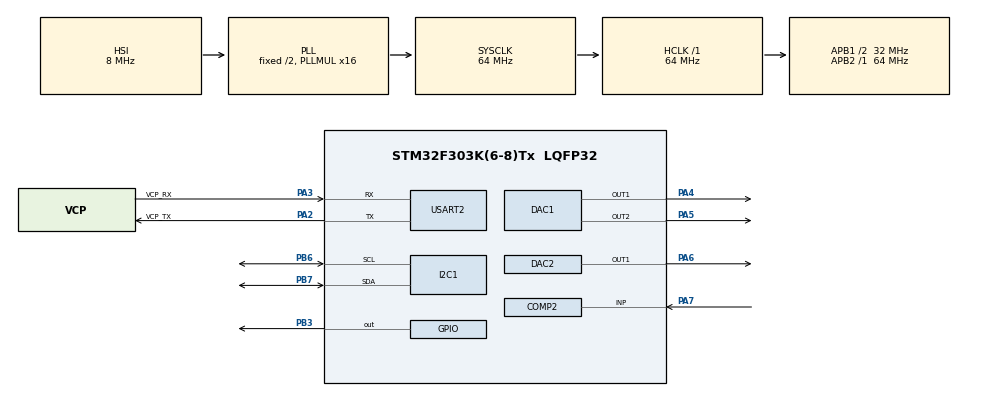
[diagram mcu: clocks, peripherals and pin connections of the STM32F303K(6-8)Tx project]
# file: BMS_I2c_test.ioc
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COMP2.InvertingInput=COMP_INVERTINGINPUT_DAC1_CH1
Dma.Request0=USART2_TX
Dma.USART2_TX.0.Direction=DMA_MEMORY_TO_PERIPH
Dma.USART2_TX.0.Instance=DMA1_Channel7
Dma.USART2_TX.0.MemDataAlignment=DMA_MDATAALIGN_BYTE
Dma.USART2_TX.0.MemInc=DMA_MINC_ENABLE
Dma.USART2_TX.0.Mode=DMA_NORMAL
Dma.USART2_TX.0.PeriphDataAlignment=DMA_PDATAALIGN_BYTE
Dma.USART2_TX.0.PeriphInc=DMA_PINC_DISABLE
Dma.USART2_TX.0.Priority=DMA_PRIORITY_LOW
Mcu.Family=STM32F3
Mcu.Name=STM32F303K(6-8)Tx
Mcu.Package=LQFP32
NVIC.DMA1_Channel7_IRQn=true\:0\:0\:false\:false\:true\:false\:true\:true
NVIC.PriorityGroup=NVIC_PRIORITYGROUP_4
NVIC.TIM1_TRG_COM_TIM17_IRQn=true\:0\:0\:false\:false\:true\:true\:true\:true
PA13.GPIO_Label=SWDIO
PA13.Mode=Serial_Wire
PA13.Signal=SYS_JTMS-SWDIO
PA14.GPIO_Label=SWCLK
PA14.Mode=Serial_Wire
PA14.Signal=SYS_JTCK-SWCLK
PA2.GPIO_Label=VCP_TX
PA2.Mode=Asynchronous
PA2.Signal=USART2_TX
PA3.GPIO_Label=VCP_RX
PA3.Mode=Asynchronous
PA3.Signal=USART2_RX
PA4.Signal=COMP_DAC11_group
PA5.Signal=COMP_DAC12_group
PA6.Signal=COMP_DAC21_group
PA7.Mode=INP
PA7.Signal=COMP2_INP
PB3.Signal=GPIO_Output
PB6.GPIO_Pu=GPIO_NOPULL
PB6.Mode=I2C
PB6.Signal=I2C1_SCL
PB7.GPIO_Pu=GPIO_NOPULL
PB7.Mode=I2C
PB7.Signal=I2C1_SDA
ProjectManager.HeapSize=0x200
ProjectManager.StackSize=0x400
ProjectManager.TargetToolchain=STM32CubeIDE
RCC.AHBFreq_Value=64000000
RCC.APB1CLKDivider=RCC_HCLK_DIV2
RCC.APB1Freq_Value=32000000
RCC.APB1TimFreq_Value=64000000
RCC.APB2Freq_Value=64000000
RCC.APB2TimFreq_Value=64000000
RCC.CortexFreq_Value=64000000
RCC.HCLKFreq_Value=64000000
RCC.HSE_VALUE=8000000
RCC.HSI_VALUE=8000000
RCC.PLLMUL=RCC_PLL_MUL16
RCC.SYSCLKFreq_VALUE=64000000
RCC.SYSCLKSourceVirtual=RCC_SYSCLKSOURCE_PLLCLK
SH.COMP_DAC11_group.0=DAC1_OUT1,DAC_OUT1
SH.COMP_DAC12_group.0=DAC1_OUT2,DAC_OUT2
SH.COMP_DAC21_group.0=DAC2_OUT1,Switch_Enable_OUT1
TIM17.AutoReloadPreload=TIM_AUTORELOAD_PRELOAD_DISABLE
TIM17.Period=40000
TIM17.Prescaler=99
USART2.VirtualMode-Asynchronous=VM_ASYNC
VP_COMP2_VS_DAC1OUT1.Mode=INM_DAC1OUT1
VP_TIM17_VS_ClockSourceINT.Mode=Enable_Timer
board=NUCLEO-F303K8

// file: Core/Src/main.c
/* USER CODE BEGIN Header */
/**
  ******************************************************************************
  * @file           : main.c
  * @brief          : Main program body
  ******************************************************************************
  * @attention
  *
  * Copyright (c) 2023 STMicroelectronics.
  * All rights reserved.
  *
  * This software is licensed under terms that can be found in the LICENSE file
  * in the root directory of this software component.
  * If no LICENSE file comes with this software, it is provided AS-IS.
  *
  ******************************************************************************
  */
/* USER CODE END Header */
#include "main.h"

/* USER CODE BEGIN Includes */
#include "ADS1115.h"
#include "stdbool.h"
#include "stdio.h"

/* USER CODE END Includes */

/* USER CODE BEGIN PD */

 #define LED_ON     HAL_GPIO_WritePin(GPIOB, GPIO_PIN_3,GPIO_PIN_SET);
#define LED_OFF    HAL_GPIO_WritePin(GPIOB, GPIO_PIN_3,GPIO_PIN_RESET);

/* USER CODE END PD */

COMP_HandleTypeDef hcomp2;

DAC_HandleTypeDef hdac1;
DAC_HandleTypeDef hdac2;

I2C_HandleTypeDef hi2c1;

TIM_HandleTypeDef htim17;

UART_HandleTypeDef huart2;
DMA_HandleTypeDef hdma_usart2_tx;

void SystemClock_Config(void);
static void MX_GPIO_Init(void);
static void MX_DMA_Init(void);
static void MX_USART2_UART_Init(void);
static void MX_I2C1_Init(void);
static void MX_TIM17_Init(void);
static void MX_COMP2_Init(void);
static void MX_DAC1_Init(void);
static void MX_DAC2_Init(void);

/* USER CODE BEGIN 0 */

#define ADS1115_ADR 0x48
uint8_t ADSWrite[6];
int16_t readValue;
float voltValue;
float voltProbes[256];
static uint16_t probeNum;
//const float voltageConv = 6.114 / 32768.0f;

uint8_t I2C_REGISTERS[10] = {0x01,0x7F,0,0,0,0,0,0,0,0};
uint8_t transmit[48]={2,0,0,0,0,1,0,1,1,0,0,0,1,1,0,0,0,0,0,0,0,0,0,0,0,0,0,0,0,3,1,3};
uint8_t transmit_lenght=30;
uint8_t tr_bit=0;
bool bit=0;

uint8_t Read_Reg[2]={0, };

uint16_t result=0;
ADS1115_Config_t configReg;
ADS1115_Handle_t *pADS;

char str[58]={0, };
float v_1=0;
float v_2=0;
float v_3=0;
float current=0;

#define ADS1115_ADDRESS 0x48
unsigned char ADSwrite[6];
int16_t reading;
float voltage[4];
const float voltageConv = 6.114 / 32768.0;

static uint8_t isCountinousModeRunning = 0;
// EXTI Line9 External Interrupt ISR Handler CallBackFun
void HAL_GPIO_EXTI_Callback(uint16_t GPIO_Pin)
{
	if (GPIO_Pin == GPIO_PIN_10) // If The INT Source Is EXTI Line9 (A9 Pin)
	{
		int16_t readValue = ADS1115_getData(pADS);
		voltValue = readValue * voltageConv;
		probeNum++;
	}

	if (GPIO_Pin == GPIO_PIN_13){
		if(isCountinousModeRunning){
			isCountinousModeRunning = 0;
			ADS1115_stopContinousMode(pADS);
		}else{
			isCountinousModeRunning = 1;
			ADS1115_startContinousMode(pADS);
		}

	}
}

void Print_test(void){

//	sprintf(str, "\n\r Cnt-%02d,per-%04d,pul-%04d,adr-%04d,dir-%04d\n\r",count,period,pulse,rcv_addres,directive);
	// LED_ON;
	 HAL_UART_Transmit_DMA(&huart2, str, sizeof(str));

}
void HAL_TIM_PeriodElapsedCallback(TIM_HandleTypeDef *htim)
{
        if(htim->Instance == TIM17) //check if the interrupt comes from TIM1
        {
           if(bit==false){

             LED_OFF;
        	if((transmit[tr_bit])==3){TIM17->ARR=9000;}
        	if((transmit[tr_bit])==2){TIM17->ARR=2280;}
        	if((transmit[tr_bit])==1){TIM17->ARR=760;}
        	if((transmit[tr_bit])==0){TIM17->ARR=1520;}
               // TIM17->CCR1=0;
           }

           if(bit==true){
          LED_ON;
            if((transmit[tr_bit])==3){TIM17->ARR=9000;LED_OFF;}
           if((transmit[tr_bit])==2){TIM17->ARR=2280;}
            if((transmit[tr_bit])==1){TIM17->ARR=1520;}
            if((transmit[tr_bit])==0){TIM17->ARR  =760;}
           // TIM17->CCR1=0;
            tr_bit++;
            if(tr_bit==(transmit_lenght)){tr_bit=0;}

                      }
          bit=!bit;
                //HAL_GPIO_TogglePin(GPIOB, GPIO_PIN_3);
        }
}
/* USER CODE END 0 */

int main(void)
{

  /* MCU Configuration--------------------------------------------------------*/

  /* Reset of all peripherals, Initializes the Flash interface and the Systick. */
  HAL_Init();

  /* Configure the system clock */
  SystemClock_Config();

  /* Initialize all configured peripherals */
  MX_GPIO_Init();
  MX_DMA_Init();
  MX_USART2_UART_Init();
  MX_I2C1_Init();
  MX_TIM17_Init();
  MX_COMP2_Init();
  MX_DAC1_Init();
  MX_DAC2_Init();
  /* USER CODE BEGIN 2 */
/*
  configReg.channel = CHANNEL_AIN0_GND;
    configReg.pgaConfig = PGA_6_144;
    configReg.operatingMode = MODE_SINGLE_SHOT;
    configReg.dataRate = DRATE_475;
    configReg.compareMode = COMP_HYSTERESIS;
    configReg.polarityMode = POLARITY_ACTIVE_LOW;
    configReg.latchingMode = LATCHING_NONE;
    configReg.queueComparator = QUEUE_ONE;
    pADS = ADS1115_init(&hi2c1, ADS1115_ADR, configReg);
    ADS1115_updateConfig(pADS, configReg);
    ADS1115_setConversionReadyPin(pADS);

*/
  LED_ON;

  HAL_TIM_Base_Start_IT(&htim17);
  /* USER CODE END 2 */

  /* Infinite loop */
  /* USER CODE BEGIN WHILE */
  while (1)
  {

	  for(int i=0; i< 4; i++){
	  			ADSwrite[0] = 0x01;
	  			ADSwrite[1] = 0x00;
	  			switch(i){
	  				case(0):
	  					ADSwrite[1] = 0xC1; //11000001
	  				break;
	  				case(1):
	  					ADSwrite[1] = 0xD1; //11010001
	  				break;
	  				case(2):
	  					ADSwrite[1] = 0xE1;
	  				break;
	  				case(3):
	  					ADSwrite[1] = 0xF1;
	  				break;
	  			}
	  		//	LED_ON;
	  			ADSwrite[2] = 0x83; //10000011 LSB

	  			HAL_I2C_Master_Transmit(&hi2c1, ADS1115_ADDRESS << 1, ADSwrite, 3, 100);
	  			ADSwrite[0] = 0x00;
	  			HAL_I2C_Master_Transmit(&hi2c1, ADS1115_ADDRESS << 1 , ADSwrite, 1 ,100);
	  			HAL_Delay(20);

	  			HAL_I2C_Master_Receive(&hi2c1, ADS1115_ADDRESS <<1, ADSwrite, 2, 100);
	  			reading = (ADSwrite[0] << 8 | ADSwrite[1] );
	  			if(reading < 0) {
	  				reading = 0;
	  			}
	  			ADSwrite[0] = 0x00;
	  			ADSwrite[1] = 0x00;
	  			voltage[i] = reading * voltageConv;

	  		}
	  sprintf(str, "\n\r Inp_1-%.3f,Inp_2-%.3f,Inp_3-%.3f,Inp_4-%.3f \n\r",voltage[0],voltage[1],voltage[2],voltage[3]);

	  	 //HAL_UART_Transmit_DMA(&huart2, str,54);
	  	 HAL_UART_Transmit(&huart2, str, 53, 100);

	  	v_1=(voltage[2])*2.042;
	  	v_2=(voltage[1]*3.2)-v_1;
	  	v_3=(voltage[0]*5.38)-v_1-v_2;
	  	if(voltage[3]>2.444){current=(voltage[3]-2.444)/0.185;}
	  	if(voltage[3]<2.444){current=(2.444-voltage[3])/0.185;}

	  	  sprintf(str, "\n\r Bat_1-%.3f,Bat_2-%.3f,Bat_3-%.3f,Curr-%.3f \n\r",v_1,v_2,v_3,current);
	  	HAL_UART_Transmit(&huart2, str, 53, 100);

	  //	LED_OFF;
	  	voltage[0]=0;
	  	voltage[1]=0;
	  	voltage[2]=0;
	  	voltage[3]=0;
	  	HAL_Delay(500);

	 // probeNum = 0;
	//	  ADS1115_startContinousMode(pADS);
	//	  HAL_Delay(1000);
	//	  ADS1115_stopContinousMode(pADS);
		 // HAL_Delay(100);

    /* USER CODE END WHILE */

  }
}

void SystemClock_Config(void)
{
  RCC_OscInitTypeDef RCC_OscInitStruct = {0};
  RCC_ClkInitTypeDef RCC_ClkInitStruct = {0};
  RCC_PeriphCLKInitTypeDef PeriphClkInit = {0};

  /** Initializes the RCC Oscillators according to the specified parameters
  * in the RCC_OscInitTypeDef structure.
  */
  RCC_OscInitStruct.OscillatorType = RCC_OSCILLATORTYPE_HSI;
  RCC_OscInitStruct.HSIState = RCC_HSI_ON;
  RCC_OscInitStruct.HSICalibrationValue = RCC_HSICALIBRATION_DEFAULT;
  RCC_OscInitStruct.PLL.PLLState = RCC_PLL_ON;
  RCC_OscInitStruct.PLL.PLLSource = RCC_PLLSOURCE_HSI;
  RCC_OscInitStruct.PLL.PLLMUL = RCC_PLL_MUL16;
  if (HAL_RCC_OscConfig(&RCC_OscInitStruct) != HAL_OK)
  {
    Error_Handler();
  }

  /** Initializes the CPU, AHB and APB buses clocks
  */
  RCC_ClkInitStruct.ClockType = RCC_CLOCKTYPE_HCLK|RCC_CLOCKTYPE_SYSCLK
                              |RCC_CLOCKTYPE_PCLK1|RCC_CLOCKTYPE_PCLK2;
  RCC_ClkInitStruct.SYSCLKSource = RCC_SYSCLKSOURCE_PLLCLK;
  RCC_ClkInitStruct.AHBCLKDivider = RCC_SYSCLK_DIV1;
  RCC_ClkInitStruct.APB1CLKDivider = RCC_HCLK_DIV2;
  RCC_ClkInitStruct.APB2CLKDivider = RCC_HCLK_DIV1;

  if (HAL_RCC_ClockConfig(&RCC_ClkInitStruct, FLASH_LATENCY_2) != HAL_OK)
  {
    Error_Handler();
  }
  PeriphClkInit.PeriphClockSelection = RCC_PERIPHCLK_I2C1;
  PeriphClkInit.I2c1ClockSelection = RCC_I2C1CLKSOURCE_HSI;
  if (HAL_RCCEx_PeriphCLKConfig(&PeriphClkInit) != HAL_OK)
  {
    Error_Handler();
  }
}

static void MX_COMP2_Init(void)
{

  hcomp2.Instance = COMP2;
  hcomp2.Init.InvertingInput = COMP_INVERTINGINPUT_DAC1_CH1;
  hcomp2.Init.NonInvertingInput = COMP_NONINVERTINGINPUT_IO1;
  hcomp2.Init.Output = COMP_OUTPUT_NONE;
  hcomp2.Init.OutputPol = COMP_OUTPUTPOL_NONINVERTED;
  hcomp2.Init.BlankingSrce = COMP_BLANKINGSRCE_NONE;
  hcomp2.Init.TriggerMode = COMP_TRIGGERMODE_NONE;
  if (HAL_COMP_Init(&hcomp2) != HAL_OK)
  {
    Error_Handler();
  }

}

static void MX_DAC1_Init(void)
{

  DAC_ChannelConfTypeDef sConfig = {0};

  /** DAC Initialization
  */
  hdac1.Instance = DAC1;
  if (HAL_DAC_Init(&hdac1) != HAL_OK)
  {
    Error_Handler();
  }

  /** DAC channel OUT1 config
  */
  sConfig.DAC_Trigger = DAC_TRIGGER_NONE;
  sConfig.DAC_OutputBuffer = DAC_OUTPUTBUFFER_ENABLE;
  if (HAL_DAC_ConfigChannel(&hdac1, &sConfig, DAC_CHANNEL_1) != HAL_OK)
  {
    Error_Handler();
  }

  /** DAC channel OUT2 config
  */
  sConfig.DAC_OutputSwitch = DAC_OUTPUTSWITCH_ENABLE;
  if (HAL_DAC_ConfigChannel(&hdac1, &sConfig, DAC_CHANNEL_2) != HAL_OK)
  {
    Error_Handler();
  }

}

static void MX_DAC2_Init(void)
{

  DAC_ChannelConfTypeDef sConfig = {0};

  /** DAC Initialization
  */
  hdac2.Instance = DAC2;
  if (HAL_DAC_Init(&hdac2) != HAL_OK)
  {
    Error_Handler();
  }

  /** DAC channel OUT1 config
  */
  sConfig.DAC_Trigger = DAC_TRIGGER_NONE;
  sConfig.DAC_OutputSwitch = DAC_OUTPUTSWITCH_ENABLE;
  if (HAL_DAC_ConfigChannel(&hdac2, &sConfig, DAC_CHANNEL_1) != HAL_OK)
  {
    Error_Handler();
  }

}

static void MX_I2C1_Init(void)
{

  hi2c1.Instance = I2C1;
  hi2c1.Init.Timing = 0x2000090E;
  hi2c1.Init.OwnAddress1 = 0;
  hi2c1.Init.AddressingMode = I2C_ADDRESSINGMODE_7BIT;
  hi2c1.Init.DualAddressMode = I2C_DUALADDRESS_DISABLE;
  hi2c1.Init.OwnAddress2 = 0;
  hi2c1.Init.OwnAddress2Masks = I2C_OA2_NOMASK;
  hi2c1.Init.GeneralCallMode = I2C_GENERALCALL_DISABLE;
  hi2c1.Init.NoStretchMode = I2C_NOSTRETCH_DISABLE;
  if (HAL_I2C_Init(&hi2c1) != HAL_OK)
  {
    Error_Handler();
  }

  /** Configure Analogue filter
  */
  if (HAL_I2CEx_ConfigAnalogFilter(&hi2c1, I2C_ANALOGFILTER_ENABLE) != HAL_OK)
  {
    Error_Handler();
  }

  /** Configure Digital filter
  */
  if (HAL_I2CEx_ConfigDigitalFilter(&hi2c1, 0) != HAL_OK)
  {
    Error_Handler();
  }

}

static void MX_TIM17_Init(void)
{

  htim17.Instance = TIM17;
  htim17.Init.Prescaler = 99;
  htim17.Init.CounterMode = TIM_COUNTERMODE_UP;
  htim17.Init.Period = 40000;
  htim17.Init.ClockDivision = TIM_CLOCKDIVISION_DIV1;
  htim17.Init.RepetitionCounter = 0;
  htim17.Init.AutoReloadPreload = TIM_AUTORELOAD_PRELOAD_DISABLE;
  if (HAL_TIM_Base_Init(&htim17) != HAL_OK)
  {
    Error_Handler();
  }

}

static void MX_USART2_UART_Init(void)
{

  huart2.Instance = USART2;
  huart2.Init.BaudRate = 38400;
  huart2.Init.WordLength = UART_WORDLENGTH_8B;
  huart2.Init.StopBits = UART_STOPBITS_1;
  huart2.Init.Parity = UART_PARITY_NONE;
  huart2.Init.Mode = UART_MODE_TX_RX;
  huart2.Init.HwFlowCtl = UART_HWCONTROL_NONE;
  huart2.Init.OverSampling = UART_OVERSAMPLING_16;
  huart2.Init.OneBitSampling = UART_ONE_BIT_SAMPLE_DISABLE;
  huart2.AdvancedInit.AdvFeatureInit = UART_ADVFEATURE_NO_INIT;
  if (HAL_UART_Init(&huart2) != HAL_OK)
  {
    Error_Handler();
  }

}

static void MX_DMA_Init(void)
{

  /* DMA controller clock enable */
  __HAL_RCC_DMA1_CLK_ENABLE();

  /* DMA interrupt init */
  /* DMA1_Channel7_IRQn interrupt configuration */
  HAL_NVIC_SetPriority(DMA1_Channel7_IRQn, 0, 0);
  HAL_NVIC_EnableIRQ(DMA1_Channel7_IRQn);

}

static void MX_GPIO_Init(void)
{
  GPIO_InitTypeDef GPIO_InitStruct = {0};

  /* GPIO Ports Clock Enable */
  __HAL_RCC_GPIOA_CLK_ENABLE();
  __HAL_RCC_GPIOB_CLK_ENABLE();

  /*Configure GPIO pin Output Level */
  HAL_GPIO_WritePin(GPIOB, GPIO_PIN_3, GPIO_PIN_RESET);

  /*Configure GPIO pin : PB3 */
  GPIO_InitStruct.Pin = GPIO_PIN_3;
  GPIO_InitStruct.Mode = GPIO_MODE_OUTPUT_PP;
  GPIO_InitStruct.Pull = GPIO_NOPULL;
  GPIO_InitStruct.Speed = GPIO_SPEED_FREQ_LOW;
  HAL_GPIO_Init(GPIOB, &GPIO_InitStruct);

}

void Error_Handler(void)
{
  __disable_irq();
  while (1)
  {
  }
}
